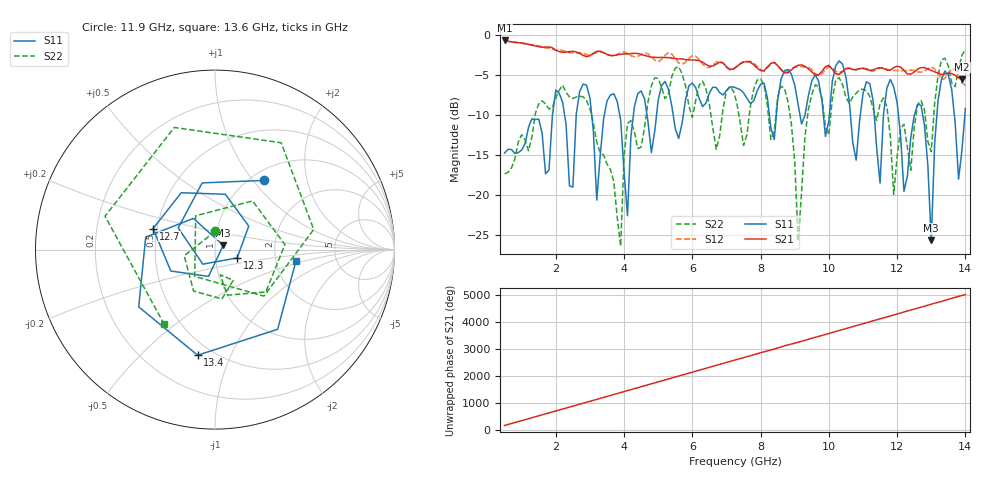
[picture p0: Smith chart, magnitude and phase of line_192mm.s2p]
!Created with skrf (http://scikit-rf.org).
# GHz S RI R 50.0
!freq ReS11 ImS11 ReS21 ImS21 ReS12 ImS12 ReS22 ImS22
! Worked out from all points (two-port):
!   136 points, 500 MHz to 14 GHz, reference 50 ohm
!   highest |S21| = -0.67 dB at 500 MHz (marker M1); lowest = -5.5 dB at 13.9 GHz (marker M2)
!   |S21| within 3 dB of the highest: start of sweep to 6.404 GHz; 7.383 GHz to 7.793 GHz (409.9 MHz wide, 5.4 % of centre)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
!   lowest |S11| = -25.6 dB at 13 GHz (marker M3), VSWR 1.11, Z = 54.8 + j2.67 ohm
!   |S11| at or under -10 dB: start of sweep to 1.902 GHz; 3.052 GHz to 3.421 GHz (368.7 MHz wide, 11.4 % of centre); 12.04 GHz to 12.51 GHz (466.3 MHz wide, 3.8 % of centre)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
!   |S22| runs from -26.4 to -1.8 dB; largest |S21 - S12| = 0.055
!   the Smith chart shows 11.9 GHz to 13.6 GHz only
!   S11 on the Smith chart (normalised r, x): 11.9 GHz: 1.15, +1.14; 12.3 GHz: 1.28, -0.12; 12.7 GHz: 0.48, +0.13; 13.4 GHz: 0.42, -0.76; 13.6 GHz: 2.59, -0.43
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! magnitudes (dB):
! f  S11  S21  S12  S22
! 500 MHz  -14.7  -0.7  -0.7  -17.3
! 2 GHz  -6.9  -1.9  -1.9  -7.9
! 2.5 GHz  -19.0  -2.0  -2.2  -7.9
! 2.8 GHz  -6.1  -2.5  -2.3  -7.7
! 3.2 GHz  -20.6  -2.0  -2.2  -13.4
! 3.9 GHz  -10.6  -2.4  -2.2  -26.4
! 4.1 GHz  -22.6  -2.4  -2.3  -11.0
! 5 GHz  -8.1  -2.8  -3.3  -5.4
! 7.3 GHz  -6.6  -4.0  -3.9  -8.4
! 8.7 GHz  -4.5  -4.7  -4.6  -6.7
! 9.1 GHz  -8.7  -3.8  -3.9  -25.7
! 9.5 GHz  -5.7  -4.6  -4.3  -7.4
! 11.5 GHz  -18.5  -4.1  -4.1  -8.6
! 11.8 GHz  -5.5  -4.4  -4.4  -12.7
! 11.9 GHz  -6.5  -4.1  -4.4  -19.9
! 12.3 GHz  -17.6  -4.9  -4.5  -14.0
! 12.7 GHz  -8.8  -4.1  -4.7  -8.2
! 13 GHz  -25.6  -4.4  -4.0  -14.6
! 13.4 GHz  -4.5  -4.9  -5.4  -2.9
! 13.6 GHz  -6.8  -4.8  -4.2  -6.0
! 13.9 GHz  -14.3  -5.5  -6.0  -2.5
! 14 GHz  -9.2  -5.4  -6.3  -1.8
